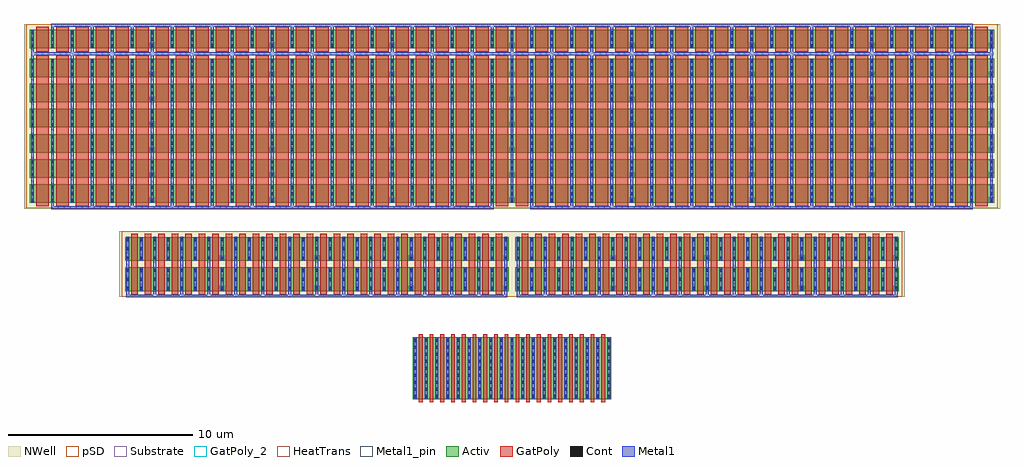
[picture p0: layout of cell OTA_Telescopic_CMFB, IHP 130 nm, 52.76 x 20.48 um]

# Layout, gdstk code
import gdstk
lib = gdstk.Library(unit=1e-6, precision=1e-09)
def R(c, l, rs):  # rectangles x0, y0, x1, y1
    for r in rs: c.add(gdstk.rectangle(r[:2], r[2:], *l))
def A(c, l, x, y, w, h, nx, ny, dx, dy):  # array of equal rectangles
    R(c, l, [(x+i*dx, y+j*dy, x+i*dx+w, y+j*dy+h) for i in range(nx) for j in range(ny)])
Activ = (1, 0)
GatPoly = (5, 0)
GatPoly_2 = (5, 2)
Cont = (6, 0)
Metal1 = (8, 0)
Metal1_pin = (8, 2)
pSD = (14, 0)
NWell = (31, 0)
Substrate = (40, 0)
HeatTrans = (51, 0)

pmos_1 = lib.new_cell('pmos$1')
A(pmos_1, Activ, 0, 0, 0.3, 0.3, 8, 1, 0.73, 0)
R(pmos_1, Activ, [(0,0,5.41,1.285)])
A(pmos_1, GatPoly, 0.34, -0.18, 0.35, 1.645, 7, 1, 0.73, 0)
R(pmos_1, GatPoly, [(0.34,-0.18,0.69,1.465)])
A(pmos_1, Cont, 0.07, 0.07, 0.16, 0.16, 8, 2, 0.73, 0.49)
A(pmos_1, Cont, 0.07, 1.055, 0.16, 0.16, 8, 1, 0.73, 0)
A(pmos_1, Metal1, 0.8, 0, 0.16, 1.285, 7, 1, 0.73, 0)
R(pmos_1, Metal1, [(0.07,0,0.23,1.285), (0.07,0,0.23,1.285), (0.8,0,0.96,1.285)])
R(pmos_1, pSD, [(-0.18,-0.3,5.59,1.585)])
R(pmos_1, NWell, [(-0.31,-0.31,5.72,1.595)])
R(pmos_1, Substrate, [(5.11,0,5.41,0.3)])
A(pmos_1, HeatTrans, 0.34, -0.18, 0.35, 1.645, 7, 1, 0.73, 0)
pmos_1.add(gdstk.Label('pmos', (0.515,0.643), layer=63, texttype=0))
pmos_1.add(gdstk.Label('pmos', (0.515,0.643), layer=51, texttype=0))
pmos_1.add(gdstk.Label('pmos', (1.245,0.643), layer=51, texttype=0))
pmos_1.add(gdstk.Label('pmos', (1.975,0.643), layer=51, texttype=0))
pmos_1.add(gdstk.Label('pmos', (2.705,0.643), layer=51, texttype=0))
pmos_1.add(gdstk.Label('pmos', (3.435,0.643), layer=51, texttype=0))
pmos_1.add(gdstk.Label('pmos', (4.165,0.643), layer=51, texttype=0))
pmos_1.add(gdstk.Label('pmos', (4.895,0.643), layer=51, texttype=0))

nmos = lib.new_cell('nmos')
A(nmos, Activ, 0, 0, 0.3, 0.3, 10, 1, 0.58, 0)
R(nmos, Activ, [(0,0,5.52,3.33)])
A(nmos, GatPoly, 0.34, -0.18, 0.2, 3.69, 9, 1, 0.58, 0)
R(nmos, GatPoly_2, [(0.34,-0.18,0.54,3.51)])
A(nmos, Cont, 0.07, 0.07, 0.16, 0.16, 10, 2, 0.58, 0.375)
A(nmos, Cont, 0.07, 0.825, 0.16, 0.16, 10, 3, 0.58, 0.38)
A(nmos, Cont, 0.07, 1.96, 0.16, 0.16, 10, 4, 0.58, 0.38)
A(nmos, Metal1, 0.07, 0, 0.16, 3.33, 10, 1, 0.58, 0)
R(nmos, Metal1_pin, [(0.07,0,0.23,3.33), (0.65,0,0.81,3.33)])
A(nmos, HeatTrans, 0.34, -0.18, 0.2, 3.69, 9, 1, 0.58, 0)
nmos.add(gdstk.Label('nmos', (0.44,1.665), layer=63, texttype=0))
nmos.add(gdstk.Label('nmos', (0.44,1.665), layer=51, texttype=0))
nmos.add(gdstk.Label('nmos', (1.02,1.665), layer=51, texttype=0))
nmos.add(gdstk.Label('nmos', (1.6,1.665), layer=51, texttype=0))
nmos.add(gdstk.Label('nmos', (2.18,1.665), layer=51, texttype=0))
nmos.add(gdstk.Label('nmos', (2.76,1.665), layer=51, texttype=0))
nmos.add(gdstk.Label('nmos', (3.34,1.665), layer=51, texttype=0))
nmos.add(gdstk.Label('nmos', (3.92,1.665), layer=51, texttype=0))
nmos.add(gdstk.Label('nmos', (4.5,1.665), layer=51, texttype=0))
nmos.add(gdstk.Label('nmos', (5.08,1.665), layer=51, texttype=0))

pmos = lib.new_cell('pmos')
A(pmos, Activ, 0, 0, 0.3, 0.3, 7, 1, 1.08, 0)
R(pmos, Activ, [(0,0,6.78,1)])
A(pmos, GatPoly, 0.34, -0.18, 0.7, 1.36, 6, 1, 1.08, 0)
R(pmos, GatPoly, [(0.34,-0.18,1.04,1.18)])
A(pmos, Cont, 0.07, 0.07, 0.16, 0.16, 7, 3, 1.08, 0.35)
A(pmos, Metal1, 1.15, 0, 0.16, 1, 6, 1, 1.08, 0)
R(pmos, Metal1, [(0.07,0,0.23,1), (0.07,0,0.23,1), (1.15,0,1.31,1)])
R(pmos, pSD, [(-0.18,-0.3,6.96,1.3)])
R(pmos, NWell, [(-0.31,-0.31,7.09,1.31)])
R(pmos, Substrate, [(6.48,0,6.78,0.3)])
A(pmos, HeatTrans, 0.34, -0.18, 0.7, 1.36, 6, 1, 1.08, 0)
pmos.add(gdstk.Label('pmos', (0.69,0.5), layer=63, texttype=0))
pmos.add(gdstk.Label('pmos', (0.69,0.5), layer=51, texttype=0))
pmos.add(gdstk.Label('pmos', (1.77,0.5), layer=51, texttype=0))
pmos.add(gdstk.Label('pmos', (2.85,0.5), layer=51, texttype=0))
pmos.add(gdstk.Label('pmos', (3.93,0.5), layer=51, texttype=0))
pmos.add(gdstk.Label('pmos', (5.01,0.5), layer=51, texttype=0))
pmos.add(gdstk.Label('pmos', (6.09,0.5), layer=51, texttype=0))

m1_bar2 = lib.new_cell('M1_Bar2')
R(m1_bar2, Metal1, [(-0.078,-4.355,0.082,4.805)])

m1_routings2 = lib.new_cell('M1_Routings2')
r = gdstk.Reference(m1_bar2, (-0.007,-0.05)); r.repetition = gdstk.Repetition(25, 1, v1=(2.16,0), v2=(0,0)); m1_routings2.add(r)

m1_bar1 = lib.new_cell('M1_Bar1')
R(m1_bar1, Metal1, [(-0.078,-3.765,0.082,4.215)])

m1_routings1 = lib.new_cell('M1_Routings1')
r = gdstk.Reference(m1_bar1, (0,-0.155)); r.repetition = gdstk.Repetition(12, 1, v1=(2.16,0), v2=(0,0)); m1_routings1.add(r)

m1_bar3 = lib.new_cell('M1_Bar3')
R(m1_bar3, Metal1, [(-0.05,-0.1,0.11,0.08)])

m1_routings3 = lib.new_cell('M1_Routings3')
r = gdstk.Reference(m1_bar3, (0.025,-0.245)); r.repetition = gdstk.Repetition(24, 1, v1=(2.16,0), v2=(0,0)); m1_routings3.add(r)

m1_bar4 = lib.new_cell('M1_Bar4')
R(m1_bar4, Metal1, [(-0.073,-1.501,0.087,1.611)])

m1_routings4 = lib.new_cell('M1_Routings4')
r = gdstk.Reference(m1_bar4, (0,0.02)); r.repetition = gdstk.Repetition(8, 1, v1=(1.46,0), v2=(0,0)); m1_routings4.add(r)

ota_telescopic_cmfb = lib.new_cell('OTA_Telescopic_CMFB')
R(ota_telescopic_cmfb, Metal1, [(13.33,5.49,33.93,5.65), (34.43,5.49,55.03,5.65), (9.26,10.265,33.18,10.425), (35.18,10.265,59.1,10.425), (8.182,18.598,60.182,18.758), (9.26,20.135,59.1,20.295)])
ota_telescopic_cmfb.add(gdstk.Reference(pmos_1, (23.48,5.83)))
ota_telescopic_cmfb.add(gdstk.Reference(pmos_1, (28.59,5.83)))
ota_telescopic_cmfb.add(gdstk.Reference(pmos_1, (39.47,5.83)))
ota_telescopic_cmfb.add(gdstk.Reference(pmos_1, (49.69,5.83)))
ota_telescopic_cmfb.add(gdstk.Reference(nmos, (28.81,0)))
ota_telescopic_cmfb.add(gdstk.Reference(nmos, (34.03,0)))
ota_telescopic_cmfb.add(gdstk.Reference(pmos_1, (49.69,7.475)))
ota_telescopic_cmfb.add(gdstk.Reference(pmos_1, (44.58,7.475)))
ota_telescopic_cmfb.add(gdstk.Reference(pmos_1, (39.47,7.475)))
ota_telescopic_cmfb.add(gdstk.Reference(pmos_1, (34.36,7.475)))
ota_telescopic_cmfb.add(gdstk.Reference(pmos_1, (23.48,7.475)))
ota_telescopic_cmfb.add(gdstk.Reference(pmos_1, (44.58,5.83)))
ota_telescopic_cmfb.add(gdstk.Reference(pmos_1, (13.26,5.83)))
ota_telescopic_cmfb.add(gdstk.Reference(pmos_1, (18.37,5.83)))
ota_telescopic_cmfb.add(gdstk.Reference(pmos_1, (13.26,7.475)))
ota_telescopic_cmfb.add(gdstk.Reference(pmos_1, (18.37,7.475)))
ota_telescopic_cmfb.add(gdstk.Reference(pmos_1, (28.59,7.475)))
ota_telescopic_cmfb.add(gdstk.Reference(pmos_1, (34.36,5.83)))
ota_telescopic_cmfb.add(gdstk.Reference(pmos, (34.03,10.605)))
ota_telescopic_cmfb.add(gdstk.Reference(pmos, (34.03,13.325)))
ota_telescopic_cmfb.add(gdstk.Reference(pmos, (34.03,16.045)))
ota_telescopic_cmfb.add(gdstk.Reference(pmos, (34.03,11.965)))
ota_telescopic_cmfb.add(gdstk.Reference(pmos, (34.03,14.685)))
ota_telescopic_cmfb.add(gdstk.Reference(pmos, (34.03,17.405)))
ota_telescopic_cmfb.add(gdstk.Reference(pmos, (40.51,17.405)))
ota_telescopic_cmfb.add(gdstk.Reference(pmos, (46.99,17.405)))
ota_telescopic_cmfb.add(gdstk.Reference(pmos, (53.47,17.405)))
ota_telescopic_cmfb.add(gdstk.Reference(pmos, (40.51,14.685)))
ota_telescopic_cmfb.add(gdstk.Reference(pmos, (46.99,14.685)))
ota_telescopic_cmfb.add(gdstk.Reference(pmos, (53.47,14.685)))
ota_telescopic_cmfb.add(gdstk.Reference(pmos, (40.51,11.965)))
ota_telescopic_cmfb.add(gdstk.Reference(pmos, (46.99,11.965)))
ota_telescopic_cmfb.add(gdstk.Reference(pmos, (53.47,11.965)))
ota_telescopic_cmfb.add(gdstk.Reference(pmos, (40.51,16.045)))
ota_telescopic_cmfb.add(gdstk.Reference(pmos, (46.99,16.045)))
ota_telescopic_cmfb.add(gdstk.Reference(pmos, (53.47,16.045)))
ota_telescopic_cmfb.add(gdstk.Reference(pmos, (40.51,13.325)))
ota_telescopic_cmfb.add(gdstk.Reference(pmos, (46.99,13.325)))
ota_telescopic_cmfb.add(gdstk.Reference(pmos, (53.47,13.325)))
ota_telescopic_cmfb.add(gdstk.Reference(pmos, (40.51,10.605)))
ota_telescopic_cmfb.add(gdstk.Reference(pmos, (46.99,10.605)))
ota_telescopic_cmfb.add(gdstk.Reference(pmos, (53.47,10.605)))
ota_telescopic_cmfb.add(gdstk.Reference(pmos, (27.55,16.045)))
ota_telescopic_cmfb.add(gdstk.Reference(pmos, (21.07,16.045)))
ota_telescopic_cmfb.add(gdstk.Reference(pmos, (14.59,16.045)))
ota_telescopic_cmfb.add(gdstk.Reference(pmos, (8.11,16.045)))
ota_telescopic_cmfb.add(gdstk.Reference(pmos, (27.55,10.605)))
ota_telescopic_cmfb.add(gdstk.Reference(pmos, (21.07,10.605)))
ota_telescopic_cmfb.add(gdstk.Reference(pmos, (14.59,10.605)))
ota_telescopic_cmfb.add(gdstk.Reference(pmos, (8.11,10.605)))
ota_telescopic_cmfb.add(gdstk.Reference(pmos, (27.55,13.325)))
ota_telescopic_cmfb.add(gdstk.Reference(pmos, (21.07,13.325)))
ota_telescopic_cmfb.add(gdstk.Reference(pmos, (14.59,13.325)))
ota_telescopic_cmfb.add(gdstk.Reference(pmos, (8.11,13.325)))
ota_telescopic_cmfb.add(gdstk.Reference(pmos, (27.55,17.405)))
ota_telescopic_cmfb.add(gdstk.Reference(pmos, (21.07,17.405)))
ota_telescopic_cmfb.add(gdstk.Reference(pmos, (14.59,17.405)))
ota_telescopic_cmfb.add(gdstk.Reference(pmos, (8.11,17.405)))
ota_telescopic_cmfb.add(gdstk.Reference(pmos, (27.55,11.965)))
ota_telescopic_cmfb.add(gdstk.Reference(pmos, (21.07,11.965)))
ota_telescopic_cmfb.add(gdstk.Reference(pmos, (14.59,11.965)))
ota_telescopic_cmfb.add(gdstk.Reference(pmos, (8.11,11.965)))
ota_telescopic_cmfb.add(gdstk.Reference(pmos, (27.55,14.685)))
ota_telescopic_cmfb.add(gdstk.Reference(pmos, (21.07,14.685)))
ota_telescopic_cmfb.add(gdstk.Reference(pmos, (14.59,14.685)))
ota_telescopic_cmfb.add(gdstk.Reference(pmos, (8.11,14.685)))
ota_telescopic_cmfb.add(gdstk.Reference(m1_routings2, (8.265,15.01)))
ota_telescopic_cmfb.add(gdstk.Reference(m1_routings1, (35.258,14.345)))
ota_telescopic_cmfb.add(gdstk.Reference(m1_routings1, (9.338,14.345)))
ota_telescopic_cmfb.add(gdstk.Reference(pmos, (21.07,18.955)))
ota_telescopic_cmfb.add(gdstk.Reference(pmos, (27.55,18.955)))
ota_telescopic_cmfb.add(gdstk.Reference(pmos, (8.11,18.955)))
ota_telescopic_cmfb.add(gdstk.Reference(pmos, (14.59,18.955)))
ota_telescopic_cmfb.add(gdstk.Reference(pmos, (40.51,18.955)))
ota_telescopic_cmfb.add(gdstk.Reference(pmos, (34.03,18.955)))
ota_telescopic_cmfb.add(gdstk.Reference(pmos, (53.47,18.955)))
ota_telescopic_cmfb.add(gdstk.Reference(pmos, (46.99,18.955)))
ota_telescopic_cmfb.add(gdstk.Reference(m1_routings3, (9.285,20.3)))
ota_telescopic_cmfb.add(gdstk.Reference(m1_routings4, (13.403,7.131)))
ota_telescopic_cmfb.add(gdstk.Reference(m1_routings4, (23.623,7.131)))
ota_telescopic_cmfb.add(gdstk.Reference(m1_routings4, (44.723,7.131)))
ota_telescopic_cmfb.add(gdstk.Reference(m1_routings4, (34.503,7.131)))

lib.write_gds('OTA_Telescopic_CMFB.gds')
